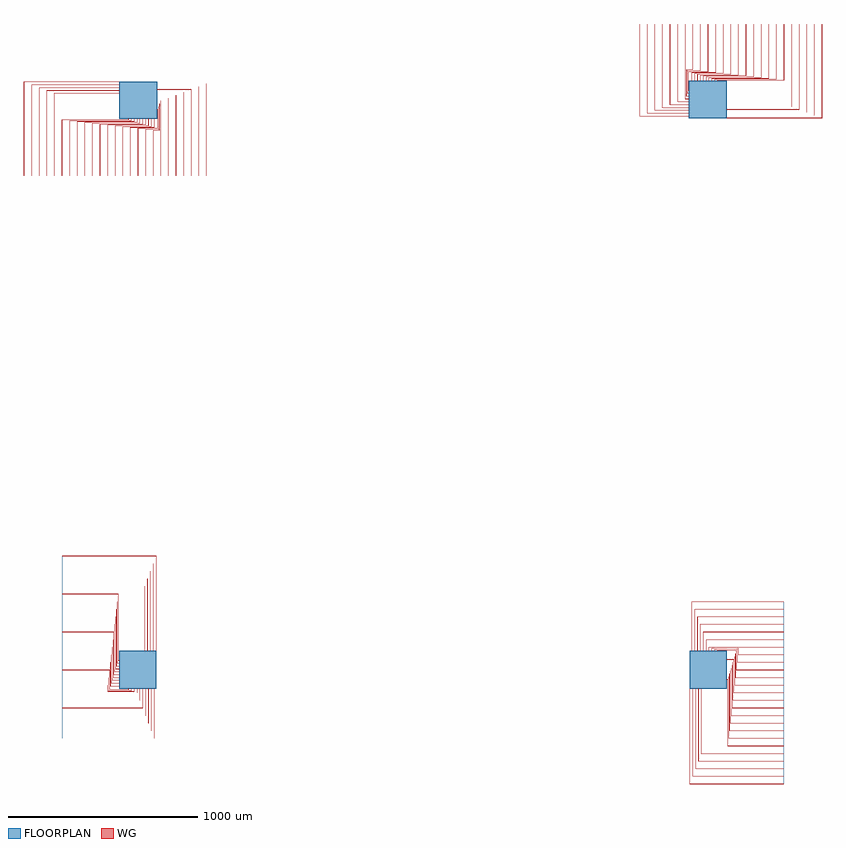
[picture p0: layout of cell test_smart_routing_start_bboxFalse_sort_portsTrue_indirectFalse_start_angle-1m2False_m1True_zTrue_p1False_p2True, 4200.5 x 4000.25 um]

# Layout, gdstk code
import gdstk
lib = gdstk.Library(unit=1e-6, precision=1e-09)
def R(c, l, rs):  # rectangles x0, y0, x1, y1
    for r in rs: c.add(gdstk.rectangle(r[:2], r[2:], *l))
def P(c, l, *ps):  # polygons
    for p in ps: c.add(gdstk.Polygon(p, *l))
WG = (1, 0)
FLOORPLAN = (10, 0)

test_smart_routing_start = lib.new_cell('test_smart_routing_start_bboxFalse_sort_portsTrue_indirectFalse_start_angle-1m2False_m1True_zTrue_p1False_p2True')
P(test_smart_routing_start, WG, [(94.75,100),(94.75,599.75),(-400,599.75),(-400,600.25),(95.25,600.25),(95.25,100)],
  [(79.75,100),(79.75,559.75),(-400,559.75),(-400,560.25),(80.25,560.25),(80.25,100)],
  [(64.75,100),(64.75,519.75),(-400,519.75),(-400,520.25),(65.25,520.25),(65.25,100)],
  [(49.75,100),(49.75,479.75),(-400,479.75),(-400,480.25),(50.25,480.25),(50.25,100)],
  [(34.75,100),(34.75,439.75),(-400,439.75),(-400,440.25),(35.25,440.25),(35.25,100)],
  [(-104.5,49.75),(-104.5,399.75),(-400,399.75),(-400,400.25),(-104,400.25),(-104,50.25),(-100,50.25),(-100,49.75)],
  [(-109,34.75),(-109,359.75),(-400,359.75),(-400,360.25),(-108.5,360.25),(-108.5,35.25),(-100,35.25),(-100,34.75)],
  [(-113.5,19.75),(-113.5,319.75),(-400,319.75),(-400,320.25),(-113,320.25),(-113,20.25),(-100,20.25),(-100,19.75)],
  [(-118,4.75),(-118,279.75),(-400,279.75),(-400,280.25),(-117.5,280.25),(-117.5,5.25),(-100,5.25),(-100,4.75)],
  [(-122.5,-10.25),(-122.5,239.75),(-400,239.75),(-400,240.25),(-122,240.25),(-122,-9.75),(-100,-9.75),(-100,-10.25)],
  [(-127,-25.25),(-127,199.75),(-400,199.75),(-400,200.25),(-126.5,200.25),(-126.5,-24.75),(-100,-24.75),(-100,-25.25)],
  [(-131.5,-40.25),(-131.5,159.75),(-400,159.75),(-400,160.25),(-131,160.25),(-131,-39.75),(-100,-39.75),(-100,-40.25)],
  [(-136,-55.25),(-136,119.75),(-400,119.75),(-400,120.25),(-135.5,120.25),(-135.5,-54.75),(-100,-54.75),(-100,-55.25)],
  [(-140.5,-70.25),(-140.5,79.75),(-400,79.75),(-400,80.25),(-140,80.25),(-140,-69.75),(-100,-69.75),(-100,-70.25)],
  [(-145,-85.25),(-145,39.75),(-400,39.75),(-400,40.25),(-144.5,40.25),(-144.5,-84.75),(-100,-84.75),(-100,-85.25)],
  [(-149.5,-104.5),(-149.5,-0.25),(-400,-0.25),(-400,0.25),(-149,0.25),(-149,-104),(-50.25,-104),(-50.25,-100),(-49.75,-100),(-49.75,-104.5)],
  [(-154,-109),(-154,-40.25),(-400,-40.25),(-400,-39.75),(-153.5,-39.75),(-153.5,-108.5),(-35.25,-108.5),(-35.25,-100),(-34.75,-100),(-34.75,-109)],
  [(-158.5,-113.5),(-158.5,-80.25),(-400,-80.25),(-400,-79.75),(-158,-79.75),(-158,-113),(-20.25,-113),(-20.25,-100),(-19.75,-100),(-19.75,-113.5)],
  [(-400,-120.25),(-400,-119.75),(-5.25,-119.75),(-5.25,-100),(-4.75,-100),(-4.75,-120.25)],
  [(-400,-160.25),(-400,-159.75),(9.75,-159.75),(9.75,-100),(10.25,-100),(10.25,-160.25)],
  [(-400,-200.25),(-400,-199.75),(24.75,-199.75),(24.75,-100),(25.25,-100),(25.25,-200.25)],
  [(-400,-240.25),(-400,-239.75),(39.75,-239.75),(39.75,-100),(40.25,-100),(40.25,-240.25)],
  [(-400,-280.25),(-400,-279.75),(54.75,-279.75),(54.75,-100),(55.25,-100),(55.25,-280.25)],
  [(-400,-320.25),(-400,-319.75),(69.75,-319.75),(69.75,-100),(70.25,-100),(70.25,-320.25)],
  [(-400,-360.25),(-400,-359.75),(84.75,-359.75),(84.75,-100),(85.25,-100),(85.25,-360.25)],
  [(-600.25,2600),(-600.25,3095.25),(-100,3095.25),(-100,3094.75),(-599.75,3094.75),(-599.75,2600)],
  [(-560.25,2600),(-560.25,3080.25),(-100,3080.25),(-100,3079.75),(-559.75,3079.75),(-559.75,2600)],
  [(-520.25,2600),(-520.25,3065.25),(-100,3065.25),(-100,3064.75),(-519.75,3064.75),(-519.75,2600)],
  [(-480.25,2600),(-480.25,3050.25),(-100,3050.25),(-100,3049.75),(-479.75,3049.75),(-479.75,2600)],
  [(-440.25,2600),(-440.25,3035.25),(-100,3035.25),(-100,3034.75),(-439.75,3034.75),(-439.75,2600)],
  [(-400.25,2600),(-400.25,2896),(-50.25,2896),(-50.25,2900),(-49.75,2900),(-49.75,2895.5),(-399.75,2895.5),(-399.75,2600)],
  [(-360.25,2600),(-360.25,2891.5),(-35.25,2891.5),(-35.25,2900),(-34.75,2900),(-34.75,2891),(-359.75,2891),(-359.75,2600)],
  [(-320.25,2600),(-320.25,2887),(-20.25,2887),(-20.25,2900),(-19.75,2900),(-19.75,2886.5),(-319.75,2886.5),(-319.75,2600)],
  [(-280.25,2600),(-280.25,2882.5),(-5.25,2882.5),(-5.25,2900),(-4.75,2900),(-4.75,2882),(-279.75,2882),(-279.75,2600)],
  [(-240.25,2600),(-240.25,2878),(9.75,2878),(9.75,2900),(10.25,2900),(10.25,2877.5),(-239.75,2877.5),(-239.75,2600)],
  [(-200.25,2600),(-200.25,2873.5),(24.75,2873.5),(24.75,2900),(25.25,2900),(25.25,2873),(-199.75,2873),(-199.75,2600)],
  [(-160.25,2600),(-160.25,2869),(39.75,2869),(39.75,2900),(40.25,2900),(40.25,2868.5),(-159.75,2868.5),(-159.75,2600)],
  [(-120.25,2600),(-120.25,2864.5),(54.75,2864.5),(54.75,2900),(55.25,2900),(55.25,2864),(-119.75,2864),(-119.75,2600)],
  [(-80.25,2600),(-80.25,2860),(69.75,2860),(69.75,2900),(70.25,2900),(70.25,2859.5),(-79.75,2859.5),(-79.75,2600)],
  [(-40.25,2600),(-40.25,2855.5),(84.75,2855.5),(84.75,2900),(85.25,2900),(85.25,2855),(-39.75,2855),(-39.75,2600)],
  [(-0.25,2600),(-0.25,2851),(104,2851),(104,2949.75),(100,2949.75),(100,2950.25),(104.5,2950.25),(104.5,2850.5),(0.25,2850.5),(0.25,2600)],
  [(39.75,2600),(39.75,2846.5),(108.5,2846.5),(108.5,2964.75),(100,2964.75),(100,2965.25),(109,2965.25),(109,2846),(40.25,2846),(40.25,2600)],
  [(79.75,2600),(79.75,2842),(113,2842),(113,2979.75),(100,2979.75),(100,2980.25),(113.5,2980.25),(113.5,2841.5),(80.25,2841.5),(80.25,2600)],
  [(119.75,2600),(119.75,2994.75),(100,2994.75),(100,2995.25),(120.25,2995.25),(120.25,2600)],
  [(159.75,2600),(159.75,3009.75),(100,3009.75),(100,3010.25),(160.25,3010.25),(160.25,2600)],
  [(199.75,2600),(199.75,3024.75),(100,3024.75),(100,3025.25),(200.25,3025.25),(200.25,2600)],
  [(239.75,2600),(239.75,3039.75),(100,3039.75),(100,3040.25),(240.25,3040.25),(240.25,2600)],
  [(279.75,2600),(279.75,3054.75),(100,3054.75),(100,3055.25),(280.25,3055.25),(280.25,2600)],
  [(319.75,2600),(319.75,3069.75),(100,3069.75),(100,3070.25),(320.25,3070.25),(320.25,2600)],
  [(359.75,2600),(359.75,3084.75),(100,3084.75),(100,3085.25),(360.25,3085.25),(360.25,2600)],
  [(3100,2904.75),(3100,2905.25),(3599.75,2905.25),(3599.75,3400),(3600.25,3400),(3600.25,2904.75)],
  [(3100,2919.75),(3100,2920.25),(3559.75,2920.25),(3559.75,3400),(3560.25,3400),(3560.25,2919.75)],
  [(3100,2934.75),(3100,2935.25),(3519.75,2935.25),(3519.75,3400),(3520.25,3400),(3520.25,2934.75)],
  [(3100,2949.75),(3100,2950.25),(3479.75,2950.25),(3479.75,3400),(3480.25,3400),(3480.25,2949.75)],
  [(3100,2964.75),(3100,2965.25),(3439.75,2965.25),(3439.75,3400),(3440.25,3400),(3440.25,2964.75)],
  [(3049.75,3100),(3049.75,3104.5),(3399.75,3104.5),(3399.75,3400),(3400.25,3400),(3400.25,3104),(3050.25,3104),(3050.25,3100)],
  [(3034.75,3100),(3034.75,3109),(3359.75,3109),(3359.75,3400),(3360.25,3400),(3360.25,3108.5),(3035.25,3108.5),(3035.25,3100)],
  [(3019.75,3100),(3019.75,3113.5),(3319.75,3113.5),(3319.75,3400),(3320.25,3400),(3320.25,3113),(3020.25,3113),(3020.25,3100)],
  [(3004.75,3100),(3004.75,3118),(3279.75,3118),(3279.75,3400),(3280.25,3400),(3280.25,3117.5),(3005.25,3117.5),(3005.25,3100)],
  [(2989.75,3100),(2989.75,3122.5),(3239.75,3122.5),(3239.75,3400),(3240.25,3400),(3240.25,3122),(2990.25,3122),(2990.25,3100)],
  [(2974.75,3100),(2974.75,3127),(3199.75,3127),(3199.75,3400),(3200.25,3400),(3200.25,3126.5),(2975.25,3126.5),(2975.25,3100)],
  [(2959.75,3100),(2959.75,3131.5),(3159.75,3131.5),(3159.75,3400),(3160.25,3400),(3160.25,3131),(2960.25,3131),(2960.25,3100)],
  [(2944.75,3100),(2944.75,3136),(3119.75,3136),(3119.75,3400),(3120.25,3400),(3120.25,3135.5),(2945.25,3135.5),(2945.25,3100)],
  [(2929.75,3100),(2929.75,3140.5),(3079.75,3140.5),(3079.75,3400),(3080.25,3400),(3080.25,3140),(2930.25,3140),(2930.25,3100)],
  [(2914.75,3100),(2914.75,3145),(3039.75,3145),(3039.75,3400),(3040.25,3400),(3040.25,3144.5),(2915.25,3144.5),(2915.25,3100)],
  [(2895.5,3049.75),(2895.5,3149.5),(2999.75,3149.5),(2999.75,3400),(3000.25,3400),(3000.25,3149),(2896,3149),(2896,3050.25),(2900,3050.25),(2900,3049.75)],
  [(2891,3034.75),(2891,3154),(2959.75,3154),(2959.75,3400),(2960.25,3400),(2960.25,3153.5),(2891.5,3153.5),(2891.5,3035.25),(2900,3035.25),(2900,3034.75)],
  [(2886.5,3019.75),(2886.5,3158.5),(2919.75,3158.5),(2919.75,3400),(2920.25,3400),(2920.25,3158),(2887,3158),(2887,3020.25),(2900,3020.25),(2900,3019.75)],
  [(2879.75,3004.75),(2879.75,3400),(2880.25,3400),(2880.25,3005.25),(2900,3005.25),(2900,3004.75)],
  [(2839.75,2989.75),(2839.75,3400),(2840.25,3400),(2840.25,2990.25),(2900,2990.25),(2900,2989.75)],
  [(2799.75,2974.75),(2799.75,3400),(2800.25,3400),(2800.25,2975.25),(2900,2975.25),(2900,2974.75)],
  [(2759.75,2959.75),(2759.75,3400),(2760.25,3400),(2760.25,2960.25),(2900,2960.25),(2900,2959.75)],
  [(2719.75,2944.75),(2719.75,3400),(2720.25,3400),(2720.25,2945.25),(2900,2945.25),(2900,2944.75)],
  [(2679.75,2929.75),(2679.75,3400),(2680.25,3400),(2680.25,2930.25),(2900,2930.25),(2900,2929.75)],
  [(2639.75,2914.75),(2639.75,3400),(2640.25,3400),(2640.25,2915.25),(2900,2915.25),(2900,2914.75)],
  [(2904.75,-600.25),(2904.75,-100),(2905.25,-100),(2905.25,-599.75),(3400,-599.75),(3400,-600.25)],
  [(2919.75,-560.25),(2919.75,-100),(2920.25,-100),(2920.25,-559.75),(3400,-559.75),(3400,-560.25)],
  [(2934.75,-520.25),(2934.75,-100),(2935.25,-100),(2935.25,-519.75),(3400,-519.75),(3400,-520.25)],
  [(2949.75,-480.25),(2949.75,-100),(2950.25,-100),(2950.25,-479.75),(3400,-479.75),(3400,-480.25)],
  [(2964.75,-440.25),(2964.75,-100),(2965.25,-100),(2965.25,-439.75),(3400,-439.75),(3400,-440.25)],
  [(3104,-400.25),(3104,-50.25),(3100,-50.25),(3100,-49.75),(3104.5,-49.75),(3104.5,-399.75),(3400,-399.75),(3400,-400.25)],
  [(3108.5,-360.25),(3108.5,-35.25),(3100,-35.25),(3100,-34.75),(3109,-34.75),(3109,-359.75),(3400,-359.75),(3400,-360.25)],
  [(3113,-320.25),(3113,-20.25),(3100,-20.25),(3100,-19.75),(3113.5,-19.75),(3113.5,-319.75),(3400,-319.75),(3400,-320.25)],
  [(3117.5,-280.25),(3117.5,-5.25),(3100,-5.25),(3100,-4.75),(3118,-4.75),(3118,-279.75),(3400,-279.75),(3400,-280.25)],
  [(3122,-240.25),(3122,9.75),(3100,9.75),(3100,10.25),(3122.5,10.25),(3122.5,-239.75),(3400,-239.75),(3400,-240.25)],
  [(3126.5,-200.25),(3126.5,24.75),(3100,24.75),(3100,25.25),(3127,25.25),(3127,-199.75),(3400,-199.75),(3400,-200.25)],
  [(3131,-160.25),(3131,39.75),(3100,39.75),(3100,40.25),(3131.5,40.25),(3131.5,-159.75),(3400,-159.75),(3400,-160.25)],
  [(3135.5,-120.25),(3135.5,54.75),(3100,54.75),(3100,55.25),(3136,55.25),(3136,-119.75),(3400,-119.75),(3400,-120.25)],
  [(3140,-80.25),(3140,69.75),(3100,69.75),(3100,70.25),(3140.5,70.25),(3140.5,-79.75),(3400,-79.75),(3400,-80.25)],
  [(3144.5,-40.25),(3144.5,84.75),(3100,84.75),(3100,85.25),(3145,85.25),(3145,-39.75),(3400,-39.75),(3400,-40.25)],
  [(3149,-0.25),(3149,104),(3050.25,104),(3050.25,100),(3049.75,100),(3049.75,104.5),(3149.5,104.5),(3149.5,0.25),(3400,0.25),(3400,-0.25)],
  [(3153.5,39.75),(3153.5,108.5),(3035.25,108.5),(3035.25,100),(3034.75,100),(3034.75,109),(3154,109),(3154,40.25),(3400,40.25),(3400,39.75)],
  [(3158,79.75),(3158,113),(3020.25,113),(3020.25,100),(3019.75,100),(3019.75,113.5),(3158.5,113.5),(3158.5,80.25),(3400,80.25),(3400,79.75)],
  [(3004.75,100),(3004.75,120.25),(3400,120.25),(3400,119.75),(3005.25,119.75),(3005.25,100)],
  [(2989.75,100),(2989.75,160.25),(3400,160.25),(3400,159.75),(2990.25,159.75),(2990.25,100)],
  [(2974.75,100),(2974.75,200.25),(3400,200.25),(3400,199.75),(2975.25,199.75),(2975.25,100)],
  [(2959.75,100),(2959.75,240.25),(3400,240.25),(3400,239.75),(2960.25,239.75),(2960.25,100)],
  [(2944.75,100),(2944.75,280.25),(3400,280.25),(3400,279.75),(2945.25,279.75),(2945.25,100)],
  [(2929.75,100),(2929.75,320.25),(3400,320.25),(3400,319.75),(2930.25,319.75),(2930.25,100)],
  [(2914.75,100),(2914.75,360.25),(3400,360.25),(3400,359.75),(2915.25,359.75),(2915.25,100)])
R(test_smart_routing_start, FLOORPLAN, [(-100,-100,95,100), (2905,-100,3100,100), (-100,2900,100,3095), (2900,2905,3100,3100)])
P(test_smart_routing_start, FLOORPLAN, [(-400,-360),(-400,600),(-400,600),(-400,-360)],
  [(-600,2600),(-600,2600),(360,2600),(360,2600)],
  [(3400,-600),(3400,360),(3400,360),(3400,-600)],
  [(2640,3400),(2640,3400),(3600,3400),(3600,3400)])

lib.write_gds('test_smart_routing_start_bboxFalse_sort_portsTrue_indirectFalse_start_angle-1m2False_m1True_zTrue_p1False_p2True.gds')
